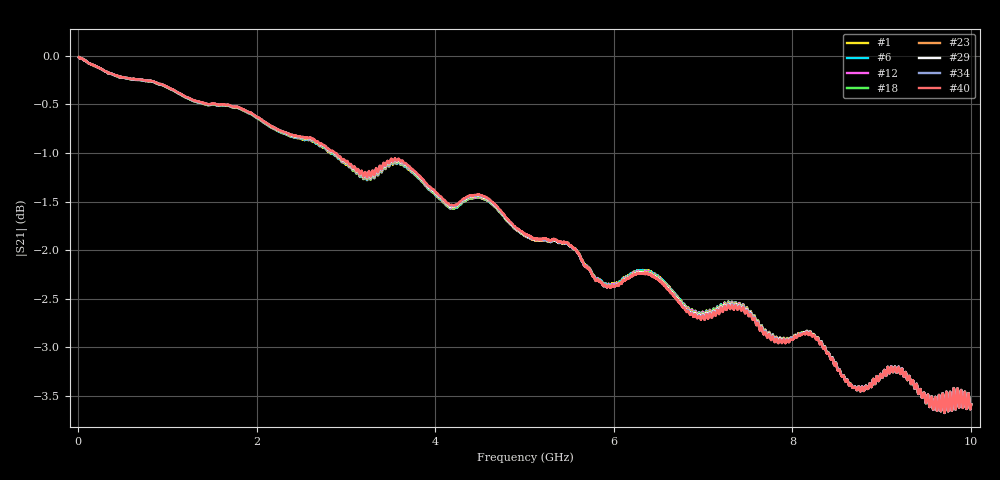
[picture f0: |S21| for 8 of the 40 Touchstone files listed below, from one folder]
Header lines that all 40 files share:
!Keysight Technologies,E5080B,MY59205177,A.15.75.32
!Correction: S11(Cdelta 2-Port  )
!S21(Cdelta 2-Port  )
!S12(Cdelta 2-Port  )
!S22(Cdelta 2-Port  )
!S2P File: Measurements: S11, S21, S12, S22:
# Hz S  dB  R 50
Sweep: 10 MHz to 10 GHz
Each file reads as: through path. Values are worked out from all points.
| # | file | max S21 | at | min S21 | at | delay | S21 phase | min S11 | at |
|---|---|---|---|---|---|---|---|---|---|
| 1 | 81.s2p | -0.02 dB | 14 MHz | -3.7 dB | 9.701 GHz | 565 ps | 80 deg at 5.005 GHz | -62.6 dB | 1.8 GHz |
| 2 | 82.s2p | -0.01 dB | 10 MHz | -3.7 dB | 9.701 GHz | 565 ps | 80 deg at 5.005 GHz | -62.7 dB | 1.8 GHz |
| 3 | 83.s2p | -0.02 dB | 10 MHz | -3.7 dB | 9.701 GHz | 565 ps | 80 deg at 5.005 GHz | -63.6 dB | 1.8 GHz |
| 4 | 84.s2p | -0.02 dB | 14 MHz | -3.7 dB | 9.701 GHz | 565 ps | 80 deg at 5.005 GHz | -64.2 dB | 1.8 GHz |
| 5 | 85.s2p | -0.01 dB | 14 MHz | -3.7 dB | 9.701 GHz | 565 ps | 80 deg at 5.005 GHz | -64.2 dB | 1.8 GHz |
| 6 | 86.s2p | -0.01 dB | 10 MHz | -3.7 dB | 9.701 GHz | 565 ps | 80 deg at 5.005 GHz | -64.7 dB | 1.8 GHz |
| 7 | 87.s2p | -0.01 dB | 10 MHz | -3.7 dB | 9.701 GHz | 565 ps | 80 deg at 5.005 GHz | -64.7 dB | 1.8 GHz |
| 8 | 88.s2p | -0.02 dB | 10 MHz | -3.7 dB | 9.701 GHz | 565 ps | 80 deg at 5.005 GHz | -65.5 dB | 1.8 GHz |
| 9 | 89.s2p | -0.02 dB | 14 MHz | -3.7 dB | 9.701 GHz | 565 ps | 80 deg at 5.005 GHz | -65.7 dB | 1.8 GHz |
| 10 | 90.s2p | -0.01 dB | 10 MHz | -3.7 dB | 9.701 GHz | 565 ps | 80 deg at 5.005 GHz | -65.3 dB | 1.8 GHz |
| 11 | 91.s2p | -0.02 dB | 14 MHz | -3.7 dB | 9.701 GHz | 565 ps | 80 deg at 5.005 GHz | -66.6 dB | 1.8 GHz |
| 12 | 92.s2p | -0.01 dB | 10 MHz | -3.7 dB | 9.701 GHz | 565 ps | 80 deg at 5.005 GHz | -67.1 dB | 1.8 GHz |
| 13 | 93.s2p | -0.01 dB | 14 MHz | -3.7 dB | 9.701 GHz | 565 ps | 80 deg at 5.005 GHz | -68.0 dB | 1.8 GHz |
| 14 | 94.s2p | -0.02 dB | 10 MHz | -3.7 dB | 9.701 GHz | 565 ps | 80 deg at 5.005 GHz | -68.0 dB | 1.8 GHz |
| 15 | 95.s2p | -0.01 dB | 14 MHz | -3.7 dB | 9.701 GHz | 565 ps | 80 deg at 5.005 GHz | -68.7 dB | 1.8 GHz |
| 16 | 96.s2p | -0.02 dB | 14 MHz | -3.7 dB | 9.701 GHz | 565 ps | 80 deg at 5.005 GHz | -68.5 dB | 1.799 GHz |
| 17 | 97.s2p | -0.02 dB | 10 MHz | -3.7 dB | 9.701 GHz | 565 ps | 80 deg at 5.005 GHz | -69.2 dB | 1.8 GHz |
| 18 | 98.s2p | -0.01 dB | 10 MHz | -3.7 dB | 9.701 GHz | 565 ps | 80 deg at 5.005 GHz | -69.4 dB | 1.799 GHz |
| 19 | 99.s2p | -0.02 dB | 10 MHz | -3.7 dB | 9.701 GHz | 565 ps | 80 deg at 5.005 GHz | -71.6 dB | 1.799 GHz |
| 20 | 100.s2p | -0.01 dB | 10 MHz | -3.7 dB | 9.701 GHz | 565 ps | 80 deg at 5.005 GHz | -71.9 dB | 1.799 GHz |
| 21 | 101.s2p | -0.01 dB | 14 MHz | -3.7 dB | 9.701 GHz | 565 ps | 80 deg at 5.005 GHz | -72.9 dB | 1.799 GHz |
| 22 | 102.s2p | -0.01 dB | 14 MHz | -3.7 dB | 9.701 GHz | 565 ps | 80 deg at 5.005 GHz | -74.2 dB | 1.799 GHz |
| 23 | 103.s2p | -0.01 dB | 10 MHz | -3.7 dB | 9.701 GHz | 565 ps | 80 deg at 5.005 GHz | -74.6 dB | 1.799 GHz |
| 24 | 104.s2p | -0.02 dB | 14 MHz | -3.7 dB | 9.701 GHz | 565 ps | 80 deg at 5.005 GHz | -76.9 dB | 1.799 GHz |
| 25 | 105.s2p | -0.01 dB | 10 MHz | -3.7 dB | 9.701 GHz | 565 ps | 80 deg at 5.005 GHz | -77.5 dB | 1.799 GHz |
| 26 | 106.s2p | -0.02 dB | 10 MHz | -3.7 dB | 9.701 GHz | 565 ps | 80 deg at 5.005 GHz | -79.0 dB | 1.799 GHz |
| 27 | 107.s2p | -0.02 dB | 14 MHz | -3.7 dB | 9.701 GHz | 565 ps | 80 deg at 5.005 GHz | -78.6 dB | 1.799 GHz |
| 28 | 108.s2p | -0.02 dB | 10 MHz | -3.7 dB | 9.701 GHz | 565 ps | 80 deg at 5.005 GHz | -78.5 dB | 1.799 GHz |
| 29 | 109.s2p | -0.02 dB | 14 MHz | -3.7 dB | 9.701 GHz | 565 ps | 80 deg at 5.005 GHz | -79.1 dB | 1.799 GHz |
| 30 | 110.s2p | -0.02 dB | 14 MHz | -3.7 dB | 9.701 GHz | 565 ps | 80 deg at 5.005 GHz | -77.6 dB | 1.799 GHz |
| 31 | 111.s2p | -0.01 dB | 14 MHz | -3.7 dB | 9.701 GHz | 565 ps | 80 deg at 5.005 GHz | -78.4 dB | 1.799 GHz |
| 32 | 112.s2p | -0.02 dB | 14 MHz | -3.7 dB | 9.701 GHz | 565 ps | 80 deg at 5.005 GHz | -79.0 dB | 1.799 GHz |
| 33 | 113.s2p | -0.01 dB | 14 MHz | -3.7 dB | 9.701 GHz | 565 ps | 80 deg at 5.005 GHz | -79.6 dB | 1.799 GHz |
| 34 | 114.s2p | -0.02 dB | 14 MHz | -3.7 dB | 9.701 GHz | 565 ps | 80 deg at 5.005 GHz | -77.9 dB | 1.799 GHz |
| 35 | 115.s2p | -0.01 dB | 14 MHz | -3.7 dB | 9.701 GHz | 565 ps | 80 deg at 5.005 GHz | -76.2 dB | 1.799 GHz |
| 36 | 116.s2p | -0.01 dB | 14 MHz | -3.7 dB | 9.701 GHz | 565 ps | 80 deg at 5.005 GHz | -74.5 dB | 1.799 GHz |
| 37 | 117.s2p | -0.01 dB | 10 MHz | -3.7 dB | 9.701 GHz | 565 ps | 80 deg at 5.005 GHz | -74.1 dB | 1.799 GHz |
| 38 | 118.s2p | -0.01 dB | 14 MHz | -3.7 dB | 9.701 GHz | 565 ps | 80 deg at 5.005 GHz | -73.8 dB | 1.799 GHz |
| 39 | 119.s2p | -0.02 dB | 10 MHz | -3.7 dB | 9.701 GHz | 565 ps | 80 deg at 5.005 GHz | -73.3 dB | 1.799 GHz |
| 40 | 120.s2p | -0.01 dB | 10 MHz | -3.7 dB | 9.701 GHz | 565 ps | 80 deg at 5.005 GHz | -71.6 dB | 1.799 GHz |
